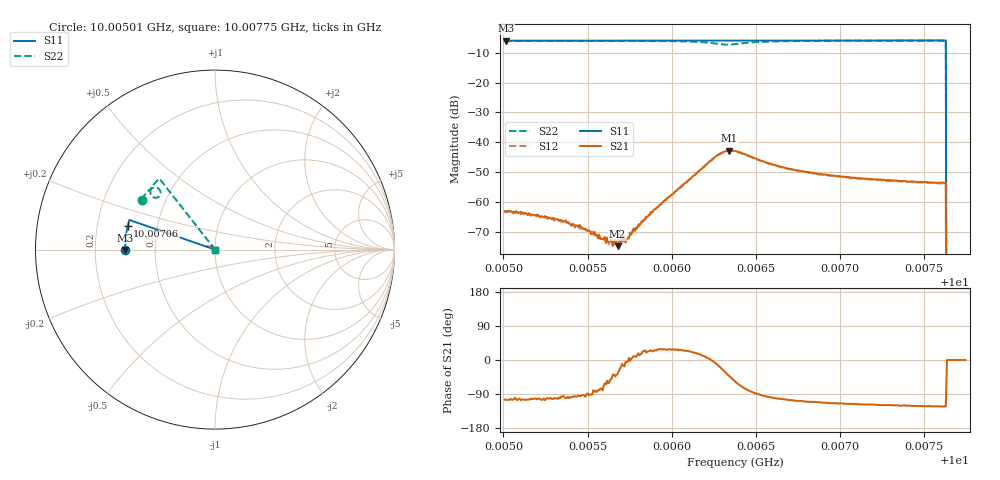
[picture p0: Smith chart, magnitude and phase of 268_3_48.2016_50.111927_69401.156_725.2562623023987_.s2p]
#  HZ  S  RI  R  50.00
! Rohde & Schwarz Vector Network Analyzer
! Rohde-Schwarz,ZNB20-2Port,1311601062101988,3.16
! Created: UTC 3/20/2024, 11:48:03 AM
! freq[Hz]  re:S11  im:S11  re:S21  im:S21  re:S12  im:S12  re:S22  im:S22
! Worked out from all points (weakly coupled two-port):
!   401 points, 10.00501 GHz to 10.00775 GHz, reference 50 ohm
!   highest |S21| = -42.70 dB at 10.00634 GHz (marker M1); lowest = -74.7 dB at 10.00568 GHz (marker M2)
!   lowest |S11| = -6.0 dB at 10.00501 GHz (marker M3), VSWR 3.00, Z = 16.7 - j0.06 ohm
!   |S11| at or under -10 dB: 10.00763 GHz to end of sweep
!   |S22| runs from - to -6.0 dB; largest |S21 - S12| = 0.00041
!   S11 on the Smith chart (normalised r, x): 10.00501 GHz: 0.33, -0.00; 10.00706 GHz: 0.33, +0.12; 10.00775 GHz: 1.00, +0.00
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1.0005007e10  -0.4997 -0.00181  -0.000175 -0.000681  -0.000145 -0.000717  -0.409 0.2784
1.0005014e10  -0.4995 -0.00135  -0.000187 -0.000692  -0.000147 -0.000667  -0.4086 0.2787
1.000537e10  -0.5 0.0219  -9.06e-05 -0.000475  -1.53e-05 -0.000507  -0.3948 0.2999
1.0005466e10  -0.4997 0.028  -1.68e-05 -0.000385  4.27e-06 -0.000346  -0.3907 0.3056
1.0005576e10  -0.4995 0.0353  5.8e-05 -0.000237  6.07e-05 -0.000244  -0.3853 0.3123
1.000563e10  -0.4994 0.0388  0.000122 -0.000192  0.000133 -0.000184  -0.3825 0.3158
1.0005678e10  -0.4991 0.0418  0.000148 -0.000111  0.0002 -0.000117  -0.3801 0.3188
1.0005699e10  -0.4992 0.0432  0.000211 -7.03e-05  0.000178 -6.8e-05  -0.3788 0.3199
1.0005733e10  -0.499 0.0455  0.000242 -2.1e-05  0.000254 -2.05e-05  -0.3769 0.3223
1.0005767e10  -0.4988 0.0476  0.000327 3.95e-05  0.000321 3.29e-05  -0.375 0.3244
1.0005925e10  -0.4981 0.0578  0.00078 0.000409  0.000737 0.000428  -0.3634 0.3348
1.0006247e10  -0.4955 0.0785  0.00537 -0.000322  0.00528 -7.84e-05  -0.3082 0.3328
1.0006295e10  -0.4949 0.0815  0.00623 -0.00245  0.00617 -0.0021  -0.3031 0.3137
1.0006343e10  -0.4944 0.0841  0.00542 -0.00493  0.00553 -0.00454  -0.3143 0.2939
1.0006377e10  -0.4944 0.0862  0.00397 -0.00601  0.00419 -0.00569  -0.3288 0.2886
1.0006596e10  -0.4926 0.1002  -0.000699 -0.00427  -0.000459 -0.00421  -0.3597 0.326
1.0006836e10  -0.4899 0.1155  -0.0011 -0.00293  -0.000944 -0.00287  -0.3498 0.3511
1.0007055e10  -0.4869 0.1294  -0.00114 -0.00235  -0.000996 -0.00236  -0.3388 0.366
1.0007295e10  -0.4831 0.1443  -0.00115 -0.00205  -0.00101 -0.00201  -0.3267 0.3794
1.0007617e10  -0.4773 0.1644  -0.00115 -0.0018  -0.00101 -0.00177  -0.3104 0.395
1.0007651e10  0 0  0 0  0 0  0 0
1.0007747e10  0 0  0 0  0 0  0 0
